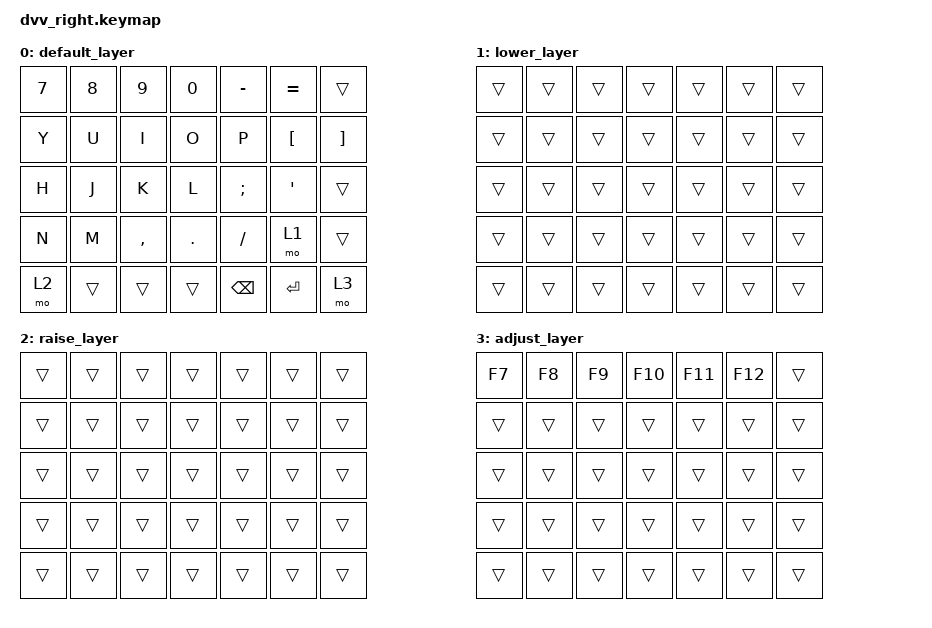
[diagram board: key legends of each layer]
/*
 * Copyright (c) 2021 The ZMK Contributors
 *
 * SPDX-License-Identifier: MIT
 */

#include <behaviors.dtsi>
#include <dt-bindings/zmk/keys.h>
#include <dt-bindings/zmk/bt.h>
#include <dt-bindings/zmk/ext_power.h>
#include <dt-bindings/zmk/outputs.h>

/ {
    keymap {
        compatible = "zmk,keymap";

        default_layer {
            /*
             * Правая половинка клавиатуры (7x5)
             * Столбцы: 1-7 (от центра к краям)
             * Ряды: 1-5 (сверху вниз)
             * 
             * ┌───┬───┬───┬───┬───┬───┬───┐
             * │ 7 │ 8 │ 9 │ 0 │ - │ = │UN1│  <- Ряд 1 (UN1 = неиспользованная позиция 7,1)
             * ├───┼───┼───┼───┼───┼───┤   │
             * │ Y │ U │ I │ O │ P │ [ │ ] │  <- Ряд 2
             * ├───┼───┼───┼───┼───┼───┤   │
             * │ H │ J │ K │ L │ ; │ ' │UN3│  <- Ряд 3 (UN3 = неиспользованная позиция 7,3)
             * ├───┼───┼───┼───┼───┼───┤   │
             * │ N │ M │ , │ . │ / │L1 │UN4│  <- Ряд 4 (L1 = слой 1, позиция 6,4)
             * ├───┼───┼───┼───┼───┼───┤   │
             * │L2 │UN5│UN5│UN5│BSP│ENT│L3 │  <- Ряд 5 (островок, L2 = слой 2, L3 = слой 3)
             * └───┴───┴───┴───┴───┴───┴───┘
             *   1   2   3   4   5   6   7
             */
            bindings = <
                &kp N7    &kp N8    &kp N9    &kp N0    &kp MINUS &kp EQUAL &trans    // UN1: позиция 7,1 - неиспользованная
                &kp Y     &kp U     &kp I     &kp O     &kp P     &kp LBKT  &kp RBKT
                &kp H     &kp J     &kp K     &kp L     &kp SEMI  &kp SQT   &trans    // UN3: позиция 7,3 - неиспользованная
                &kp N     &kp M     &kp COMMA &kp DOT   &kp FSLH  &mo 1     &trans    // mo 1: позиция 6,4 - переключение на слой 1
                &mo 2     &trans    &trans    &trans    &kp BSPC  &kp RET   &mo 3      // mo 2: позиция 1,5, mo 3: позиция 7,5 - переключение слоёв
            >;
        };

        lower_layer {
            /*
             * ┌───┬───┬───┬───┬───┬───┬───┐
             * │   │   │   │   │   │   │   │
             * ├───┼───┼───┼───┼───┼───┤   │
             * │   │   │   │   │   │   │   │
             * ├───┼───┼───┼───┼───┼───┤   │
             * │   │   │   │   │   │   │   │
             * ├───┼───┼───┼───┼───┼───┤   │
             * │   │   │   │   │   │   │   │
             * ├───┼───┼───┼───┼───┼───┤   │
             * │   │   │   │   │   │   │   │
             * └───┴───┴───┴───┴───┴───┴───┘
             */
            bindings = <
                &trans    &trans    &trans    &trans    &trans    &trans    &trans
                &trans    &trans    &trans    &trans    &trans    &trans    &trans
                &trans    &trans    &trans    &trans    &trans    &trans    &trans
                &trans    &trans    &trans    &trans    &trans    &trans    &trans
                &trans    &trans    &trans    &trans    &trans    &trans    &trans
            >;
        };

        raise_layer {
            /*
             * ┌───┬───┬───┬───┬───┬───┬───┐
             * │   │   │   │   │   │   │   │
             * ├───┼───┼───┼───┼───┼───┤   │
             * │   │   │   │   │   │   │   │
             * ├───┼───┼───┼───┼───┼───┤   │
             * │   │   │   │   │   │   │   │
             * ├───┼───┼───┼───┼───┼───┤   │
             * │   │   │   │   │   │   │   │
             * ├───┼───┼───┼───┼───┼───┤   │
             * │   │   │   │   │   │   │   │
             * └───┴───┴───┴───┴───┴───┴───┘
             */
            bindings = <
                &trans    &trans    &trans    &trans    &trans    &trans    &trans
                &trans    &trans    &trans    &trans    &trans    &trans    &trans
                &trans    &trans    &trans    &trans    &trans    &trans    &trans
                &trans    &trans    &trans    &trans    &trans    &trans    &trans
                &trans    &trans    &trans    &trans    &trans    &trans    &trans
            >;
        };

        adjust_layer {
            /*
             * ┌───┬───┬───┬───┬───┬───┬───┐
             * │F7 │F8 │F9 │F10│F11│F12│   │
             * ├───┼───┼───┼───┼───┼───┤   │
             * │   │   │   │   │   │   │   │
             * ├───┼───┼───┼───┼───┼───┤   │
             * │   │   │   │   │   │   │   │
             * ├───┼───┼───┼───┼───┼───┤   │
             * │   │   │   │   │   │   │   │
             * ├───┼───┼───┼───┼───┼───┤   │
             * │   │   │   │   │   │   │   │
             * └───┴───┴───┴───┴───┴───┴───┘
             */
            bindings = <
                &kp F7    &kp F8    &kp F9    &kp F10   &kp F11   &kp F12   &trans
                &trans    &trans    &trans    &trans    &trans    &trans    &trans
                &trans    &trans    &trans    &trans    &trans    &trans    &trans
                &trans    &trans    &trans    &trans    &trans    &trans    &trans
                &trans    &trans    &trans    &trans    &trans    &trans    &trans
            >;
        };
    };
}; 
